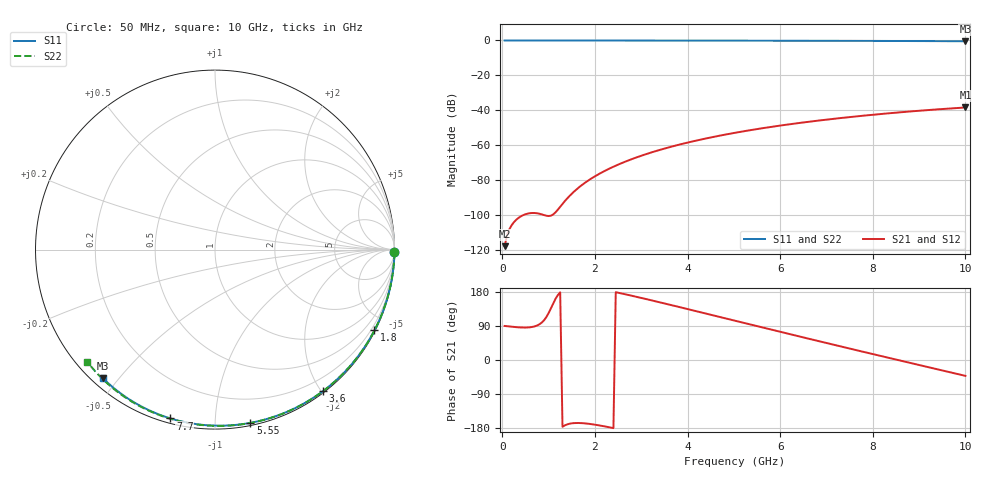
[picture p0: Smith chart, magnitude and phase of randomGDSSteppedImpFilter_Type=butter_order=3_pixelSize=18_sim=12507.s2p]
! freq	dB(S11)	phase(S11)	dB(S12)	phase(S12)
!  dB(S21)	phase(S21)	dB(S22)	phase(S22)
!S-par simulation data
#  GHz  S  DB  R 50
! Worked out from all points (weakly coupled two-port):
!   200 points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, 50 MHz to 10 GHz, reference 50 ohm
!   highest |S21| = -38.33 dB at 10 GHz (marker M1); lowest = -117.6 dB at 50 MHz (marker M2)
!   lowest |S11| = -0.4 dB at 10 GHz (marker M3), VSWR 39.29, Z = 1.54 - j22.7 ohm
!   |S11| at or under -10 dB: nowhere
!   |S22| runs from -0.5 to 0.0 dB; largest |S21 - S12| = 0
!   S11 on the Smith chart (normalised r, x): 50 MHz: open; 1.8 GHz: 0.04, -4.19; 3.6 GHz: 0.02, -2.03; 5.55 GHz: 0.02, -1.22; 7.7 GHz: 0.02, -0.77; 10 GHz: 0.03, -0.45
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0.05  -0.00 -0.8  -117.64 89.9  -117.64 89.9  -0.00 -0.8
0.45  -0.01 -6.8  -99.91 85.6  -99.91 85.6  -0.01 -7.2
0.9  -0.02 -13.6  -99.83 104.7  -99.83 104.7  -0.02 -14.4
1.75  -0.03 -26.1  -82.07 -166.9  -82.07 -166.9  -0.04 -27.7
1.8  -0.03 -26.9  -81.11 -167.4  -81.11 -167.4  -0.04 -28.4
1.85  -0.04 -27.6  -80.20 -168.1  -80.20 -168.1  -0.04 -29.2
2.25  -0.04 -33.4  -74.09 -176.1  -74.09 -176.1  -0.05 -35.4
2.45  -0.05 -36.3  -71.59 178.9  -71.59 178.9  -0.05 -38.4
2.65  -0.05 -39.2  -69.36 173.6  -69.36 173.6  -0.05 -41.4
3  -0.06 -44.1  -65.93 163.8  -65.93 163.8  -0.06 -46.7
3.4  -0.07 -49.8  -62.59 152.3  -62.59 152.3  -0.07 -52.6
3.6  -0.07 -52.5  -61.10 146.4  -61.10 146.4  -0.07 -55.5
3.9  -0.08 -56.7  -59.05 137.4  -59.05 137.4  -0.08 -59.9
4.3  -0.09 -62.1  -56.60 125.5  -56.60 125.5  -0.09 -65.6
5.05  -0.11 -72.0  -52.68 102.9  -52.68 102.9  -0.12 -76.0
5.55  -0.13 -78.5  -50.47 87.9  -50.47 87.9  -0.14 -82.8
6.1  -0.15 -85.4  -48.31 71.5  -48.31 71.5  -0.16 -90.2
6.7  -0.18 -92.8  -46.23 53.7  -46.23 53.7  -0.19 -97.9
7.7  -0.24 -104.8  -43.27 24.4  -43.27 24.4  -0.25 -110.6
8.35  -0.29 -112.4  -41.64 5.5  -41.64 5.5  -0.30 -118.6
9.2  -0.36 -122.1  -39.79 -19.0  -39.79 -19.0  -0.38 -129.0
10  -0.44 -131.1  -38.33 -41.8  -38.33 -41.8  -0.47 -138.6
